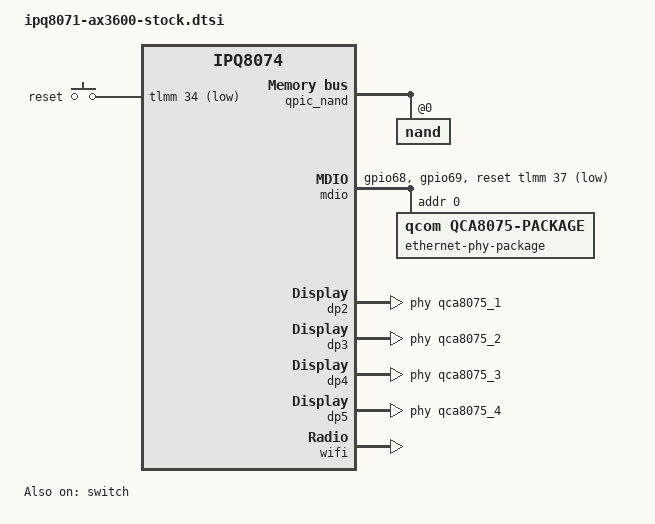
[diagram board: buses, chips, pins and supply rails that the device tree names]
// SPDX-License-Identifier: GPL-2.0-or-later OR MIT
/* Copyright (c) 2021, Robert Marko <robimarko@gmail.com> */

#include "ipq8074-512m.dtsi"
#include "ipq8074-ac-cpu.dtsi"
#include "ipq8074-ess.dtsi"
#include "ipq8074-nss.dtsi"
#include "ipq8074-common.dtsi"
#include <dt-bindings/gpio/gpio.h>
#include <dt-bindings/input/input.h>

/ {
	aliases {
		serial0 = &blsp1_uart5;
		led-boot = &led_system_yellow;
		led-failsafe = &led_system_yellow;
		led-running = &led_system_blue;
		led-upgrade = &led_system_yellow;
		label-mac-device = &dp2;
	};

	chosen {
		stdout-path = "serial0:115200n8";
		bootargs-append = " root=/dev/ubiblock0_1";
	};

	keys {
		compatible = "gpio-keys";

		reset {
			label = "reset";
			gpios = <&tlmm 34 GPIO_ACTIVE_LOW>;
			linux,code = <KEY_RESTART>;
		};
	};
};

&tlmm {
	mdio_pins: mdio-pins {
		mdc {
			pins = "gpio68";
			function = "mdc";
			drive-strength = <8>;
			bias-pull-up;
		};

		mdio {
			pins = "gpio69";
			function = "mdio";
			drive-strength = <8>;
			bias-pull-up;
		};
	};
};

&qpic_nand {
	status = "okay";

	nand@0 {
		reg = <0>;
		nand-ecc-strength = <4>;
		nand-ecc-step-size = <512>;
		nand-bus-width = <8>;

		partitions {
			compatible = "qcom,smem-part";
		};
	};
};

&mdio {
	status = "okay";

	pinctrl-0 = <&mdio_pins>;
	pinctrl-names = "default";
	reset-gpios = <&tlmm 37 GPIO_ACTIVE_LOW>;

	ethernet-phy-package@0 {
		#address-cells = <1>;
		#size-cells = <0>;
		compatible = "qcom,qca8075-package";
		reg = <0>;

		qca8075_1: ethernet-phy@1 {
			compatible = "ethernet-phy-ieee802.3-c22";
			reg = <1>;
		};

		qca8075_2: ethernet-phy@2 {
			compatible = "ethernet-phy-ieee802.3-c22";
			reg = <2>;
		};

		qca8075_3: ethernet-phy@3 {
			compatible = "ethernet-phy-ieee802.3-c22";
			reg = <3>;
		};

		qca8075_4: ethernet-phy@4 {
			compatible = "ethernet-phy-ieee802.3-c22";
			reg = <4>;
		};
	};
};

&switch {
	status = "okay";

	switch_lan_bmp = <(ESS_PORT3 | ESS_PORT4 | ESS_PORT5)>; /* lan port bitmap */
	switch_wan_bmp = <ESS_PORT2>; /* wan port bitmap */
	switch_mac_mode = <MAC_MODE_PSGMII>; /* mac mode for uniphy instance0*/

	qcom,port_phyinfo {
		port@2 {
			port_id = <2>;
			phy_address = <1>;
		};
		port@3 {
			port_id = <3>;
			phy_address = <2>;
		};
		port@4 {
			port_id = <4>;
			phy_address = <3>;
		};
		port@5 {
			port_id = <5>;
			phy_address = <4>;
		};
	};
};

&edma {
	status = "okay";
};

&dp2 {
	status = "okay";
	phy-handle = <&qca8075_1>;
	label = "wan";
};

&dp3 {
	status = "okay";
	phy-handle = <&qca8075_2>;
	label = "lan1";
};

&dp4 {
	status = "okay";
	phy-handle = <&qca8075_3>;
	label = "lan2";
};

&dp5 {
	status = "okay";
	phy-handle = <&qca8075_4>;
	label = "lan3";
};

&wifi {
	status = "okay";

	qcom,ath11k-fw-memory-mode = <1>;
};
